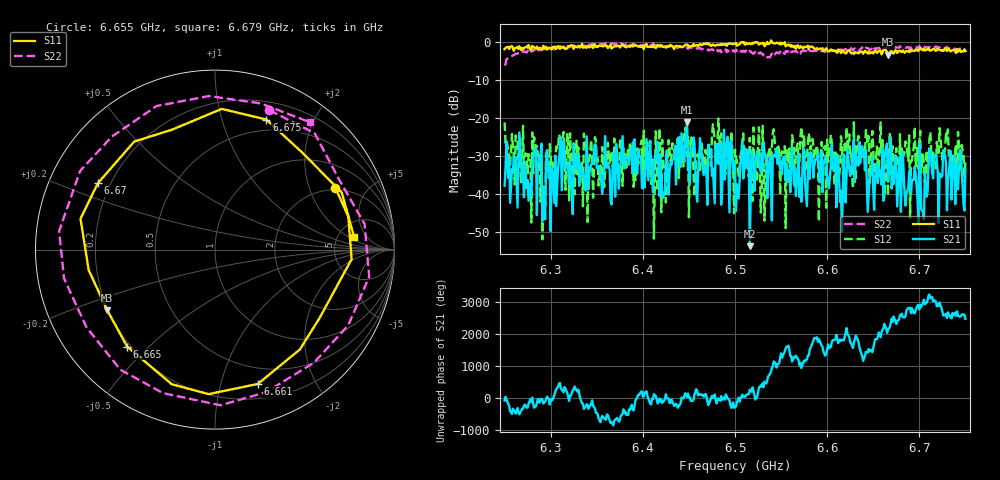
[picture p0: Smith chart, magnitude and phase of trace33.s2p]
# Hz S RI R 50
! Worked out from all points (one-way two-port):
!   401 points, 6.25 GHz to 6.75 GHz, reference 50 ohm
!   highest |S21| = -21.13 dB at 6.448 GHz (marker M1); lowest = -53.8 dB at 6.516 GHz (marker M2)
!   lowest |S11| = -3.2 dB at 6.666 GHz (marker M3), VSWR 5.43, Z = 9.82 - j12.6 ohm
!   |S11| at or under -10 dB: nowhere
!   |S22| runs from -6.1 to -0.1 dB; largest |S21 - S12| = 0.12
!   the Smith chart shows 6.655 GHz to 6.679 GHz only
!   S11 on the Smith chart (normalised r, x): 6.655 GHz: 1.89, +3.03; 6.661 GHz: 0.34, -1.31; 6.665 GHz: 0.19, -0.43; 6.67 GHz: 0.15, +0.26; 6.675 GHz: 0.38, +1.40; 6.679 GHz: 7.13, +2.51
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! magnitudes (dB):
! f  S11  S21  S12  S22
! 6.25 GHz  -1.8  -37.8  -21.1  -6.1
! 6.276 GHz  -0.7  -41.8  -29.5  -2.8
! 6.285 GHz  -1.1  -45.6  -27.3  -2.1
! 6.291 GHz  -1.8  -47.1  -52.0  -1.9
! 6.311 GHz  -1.2  -25.1  -28.1  -1.1
! 6.334 GHz  -0.4  -34.0  -31.5  -0.8
! 6.418 GHz  -1.1  -40.5  -22.6  -1.1
! 6.448 GHz  -0.6  -21.1  -30.0  -1.3
! 6.468 GHz  -0.5  -32.4  -28.3  -2.2
! 6.49 GHz  -0.5  -28.6  -34.6  -1.8
! 6.5 GHz  -0.3  -31.8  -28.3  -2.5
! 6.516 GHz  -0.3  -53.8  -25.2  -2.3
! 6.584 GHz  -1.1  -30.0  -25.4  -2.4
! 6.655 GHz  -2.5  -37.1  -32.4  -1.6
! 6.661 GHz  -2.1  -41.8  -29.0  -1.4
! 6.665 GHz  -2.7  -26.7  -30.5  -1.2
! 6.666 GHz  -3.2  -36.8  -40.5  -1.4
! 6.668 GHz  -2.9  -29.3  -23.8  -1.4
! 6.67 GHz  -2.5  -38.5  -29.5  -1.3
! 6.675 GHz  -2.2  -34.7  -27.9  -1.3
! 6.679 GHz  -2.2  -30.2  -24.2  -1.1
! 6.75 GHz  -2.3  -33.4  -31.4  -2.4
